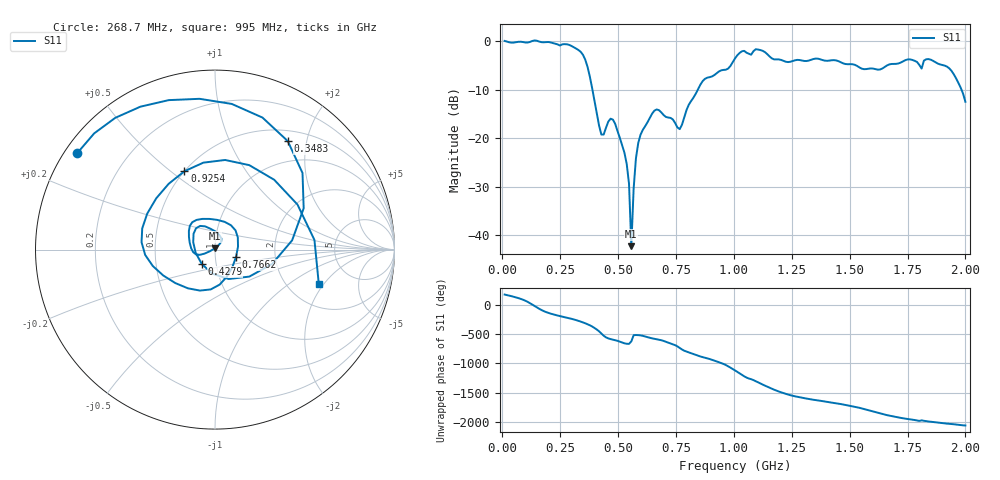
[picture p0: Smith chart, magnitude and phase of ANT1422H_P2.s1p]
!Created with skrf (http://scikit-rf.org).
# Hz S RI R 50.0
!freq ReS11 ImS11
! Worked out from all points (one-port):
!   201 points, 10 MHz to 2 GHz, reference 50 ohm
!   lowest |S11| = -42.3 dB at 557.2 MHz (marker M1), VSWR 1.02, Z = 50 + j0.767 ohm
!   |S11| at or under -10 dB: 389.4 MHz to 844 MHz (454.7 MHz wide, 73.7 % of centre); 1.983 GHz to end of sweep
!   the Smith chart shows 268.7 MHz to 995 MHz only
!   S11 on the Smith chart (normalised r, x): 268.7 MHz: 0.04, +0.31; 348.3 MHz: 0.65, +1.68; 427.9 MHz: 0.85, -0.14; 766.2 MHz: 1.26, -0.10; 925.4 MHz: 0.50, +0.56; 995 MHz: 2.93, -1.78
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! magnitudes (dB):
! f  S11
! 10 MHz  0.1
! 258.8 MHz  -0.6
! 268.7 MHz  -0.6
! 348.3 MHz  -2.8
! 378.1 MHz  -7.3
! 427.9 MHz  -19.2
! 467.7 MHz  -16.0
! 507.5 MHz  -19.9
! 537.4 MHz  -25.3
! 547.3 MHz  -29.4
! 557.2 MHz  -42.3
! 567.2 MHz  -30.4
! 577.1 MHz  -24.2
! 597 MHz  -19.3
! 666.7 MHz  -14.1
! 756.2 MHz  -17.8
! 766.2 MHz  -18.1
! 865.7 MHz  -8.2
! 925.4 MHz  -6.6
! 995 MHz  -4.3
! 1.005 GHz  -3.5
! 1.095 GHz  -1.6
! 1.254 GHz  -4.1
! 1.502 GHz  -4.7
! 1.632 GHz  -5.8
! 1.751 GHz  -3.7
! 1.92 GHz  -5.2
! 2 GHz  -12.5
